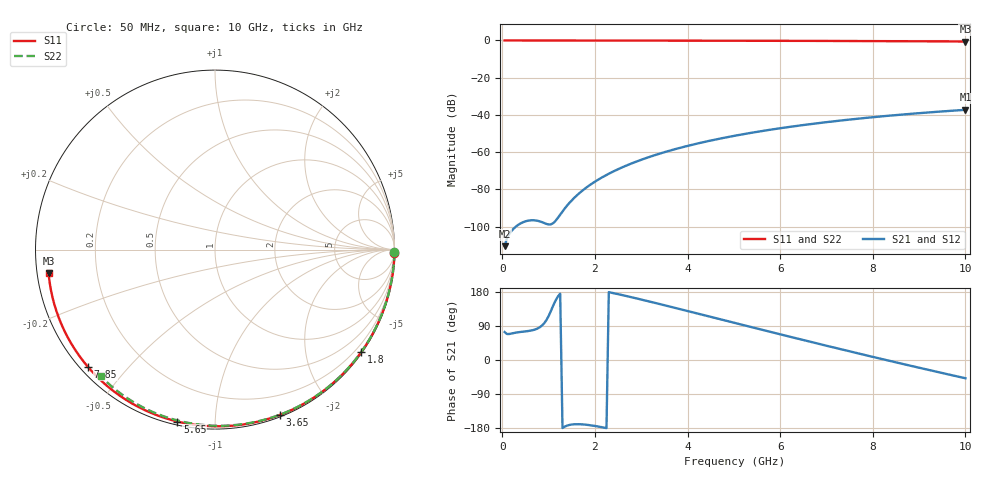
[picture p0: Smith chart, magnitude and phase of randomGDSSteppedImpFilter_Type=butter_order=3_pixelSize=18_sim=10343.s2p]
! freq	dB(S11)	phase(S11)	dB(S12)	phase(S12)
!  dB(S21)	phase(S21)	dB(S22)	phase(S22)
!S-par simulation data
#  GHz  S  DB  R 50
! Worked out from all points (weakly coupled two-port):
!   200 points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, 50 MHz to 10 GHz, reference 50 ohm
!   highest |S21| = -37.26 dB at 10 GHz (marker M1); lowest = -110.5 dB at 50 MHz (marker M2)
!   lowest |S11| = -0.6 dB at 10 GHz (marker M3), VSWR 30.43, Z = 1.65 - j3.51 ohm
!   |S11| at or under -10 dB: nowhere
!   |S22| runs from -0.4 to 0.0 dB; largest |S21 - S12| = 0
!   S11 on the Smith chart (normalised r, x): 50 MHz: open; 1.8 GHz: 0.03, -3.18; 3.65 GHz: 0.02, -1.46; 5.65 GHz: 0.02, -0.80; 7.85 GHz: 0.02, -0.39; 10 GHz: 0.03, -0.07
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0.05  -0.00 -1.0  -110.49 73.8  -110.49 73.8  -0.00 -0.8
0.45  -0.01 -8.9  -97.60 74.8  -97.60 74.8  -0.01 -6.9
0.85  -0.02 -16.7  -97.52 90.2  -97.52 90.2  -0.02 -12.9
1.3  -0.03 -25.4  -91.84 -179.5  -91.84 -179.5  -0.02 -19.7
1.75  -0.04 -33.9  -80.24 -170.1  -80.24 -170.1  -0.03 -26.3
1.8  -0.04 -34.9  -79.28 -170.7  -79.28 -170.7  -0.03 -27.1
2.1  -0.05 -40.5  -74.32 -176.2  -74.32 -176.2  -0.04 -31.5
2.3  -0.06 -44.3  -71.58 179.0  -71.58 179.0  -0.04 -34.4
2.5  -0.06 -48.0  -69.15 173.8  -69.15 173.8  -0.05 -37.3
2.9  -0.07 -55.3  -65.00 162.5  -65.00 162.5  -0.06 -43.1
3.4  -0.09 -64.3  -60.77 147.6  -60.77 147.6  -0.07 -50.2
3.65  -0.09 -68.7  -58.94 140.0  -58.94 140.0  -0.07 -53.7
4.35  -0.12 -80.8  -54.58 118.4  -54.58 118.4  -0.09 -63.3
5.05  -0.14 -92.5  -51.04 96.8  -51.04 96.8  -0.11 -72.6
5.65  -0.17 -102.4  -48.48 78.4  -48.48 78.4  -0.13 -80.4
6.15  -0.20 -110.4  -46.61 63.2  -46.61 63.2  -0.15 -86.7
6.7  -0.23 -119.1  -44.79 46.7  -44.79 46.7  -0.18 -93.6
7.25  -0.27 -127.8  -43.16 30.3  -43.16 30.3  -0.21 -100.2
7.85  -0.32 -137.2  -41.59 12.6  -41.59 12.6  -0.25 -107.4
8.35  -0.37 -145.0  -40.41 -1.9  -40.41 -1.9  -0.29 -113.3
9.2  -0.47 -158.6  -38.66 -26.0  -38.66 -26.0  -0.36 -123.1
10  -0.57 -172.0  -37.26 -48.1  -37.26 -48.1  -0.45 -132.2
